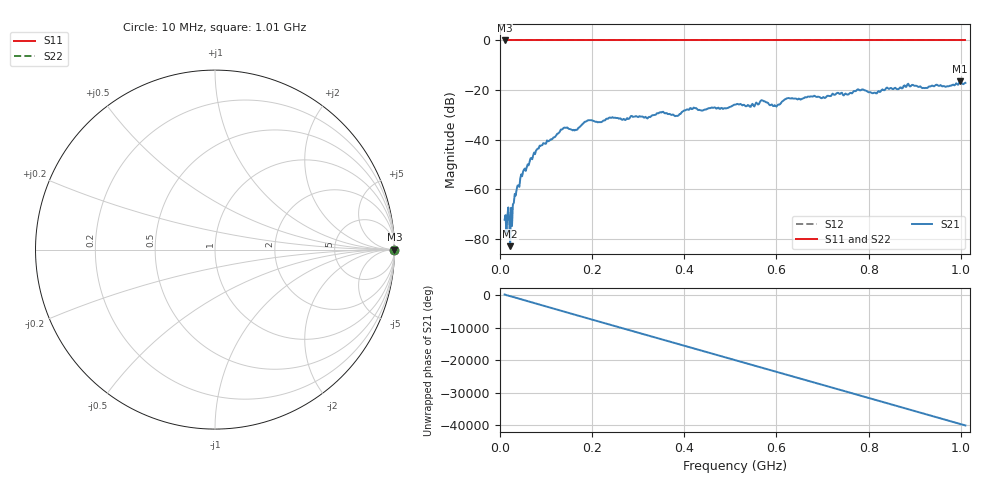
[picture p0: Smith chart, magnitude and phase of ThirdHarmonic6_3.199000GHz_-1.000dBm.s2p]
! 8/17/2025 9:42:37 AM
! C:\ANRITSUVNA\TEMP\TEMP.S2P
! CHANNEL.1
! TR.MEASUREMENT
! RAW.DATA
! RF.CORRECTION.OFF
! AVERAGING.OFF
! IF.BANDWIDTH: 5KHZ
! SWEEPTYPE:  FREQ.SWEEP(Linear)
! Reference Plane Port Info
! PORT:  PORT1  PORT2
! DISTANCE:  0  m  0  m
! TIME:  0  s  0  s
! PHASE.OFFSET:  0  deg.  0  deg.
! LOSS:  0  dB  0  dB
! REF.LOSS:  0  dB  0  dB
! REF.FREQ:  0  Hz  0  Hz
! Power Info
! POWER:  -20  dBm  -20  dBm
! EFF.POWER:  -20  dBm  -20  dBm
! SOURCE.ATTEN:  0  dB  0  dB
! TEST.ATTEN:  0  dB  0  dB
# GHZ S RI R 50.0
! FREQ.GHZ  S11RE  S11IM  S21RE  S21IM  S12RE  S12IM  S22RE  S22IM
!; PortSelection: Port_12
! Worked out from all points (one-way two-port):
!   501 points, 10 MHz to 1.01 GHz, reference 50 ohm
!   highest |S21| = -16.45 dB at 998 MHz (marker M1); lowest = -82.8 dB at 22 MHz (marker M2)
!   lowest |S11| = 0.0 dB at 10 MHz (marker M3)
!   |S11| at or under -10 dB: nowhere
!   |S22| runs from 0.0 to 0.0 dB; largest |S21 - S12| = 1.1
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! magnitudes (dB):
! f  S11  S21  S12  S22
! 10 MHz  0.0  -72.2  0.0  0.0
! 22 MHz  0.0  -82.8  0.0  0.0
! 26 MHz  0.0  -74.7  0.0  0.0
! 28 MHz  0.0  -66.0  0.0  0.0
! 34 MHz  0.0  -62.5  0.0  0.0
! 48 MHz  0.0  -54.7  0.0  0.0
! 82 MHz  0.0  -43.5  0.0  0.0
! 136 MHz  0.0  -35.7  0.0  0.0
! 164 MHz  0.0  -36.0  0.0  0.0
! 178 MHz  0.0  -33.8  0.0  0.0
! 344 MHz  0.0  -29.3  0.0  0.0
! 384 MHz  0.0  -30.4  0.0  0.0
! 416 MHz  0.0  -27.6  0.0  0.0
! 510 MHz  0.0  -25.8  0.0  0.0
! 570 MHz  0.0  -24.2  0.0  0.0
! 596 MHz  0.0  -26.1  0.0  0.0
! 624 MHz  0.0  -23.2  0.0  0.0
! 678 MHz  0.0  -22.6  0.0  0.0
! 814 MHz  0.0  -21.0  0.0  0.0
! 844 MHz  0.0  -19.5  0.0  0.0
! 998 MHz  0.0  -16.5  0.0  0.0
! 1.01 GHz  0.0  -17.1  0.0  0.0
